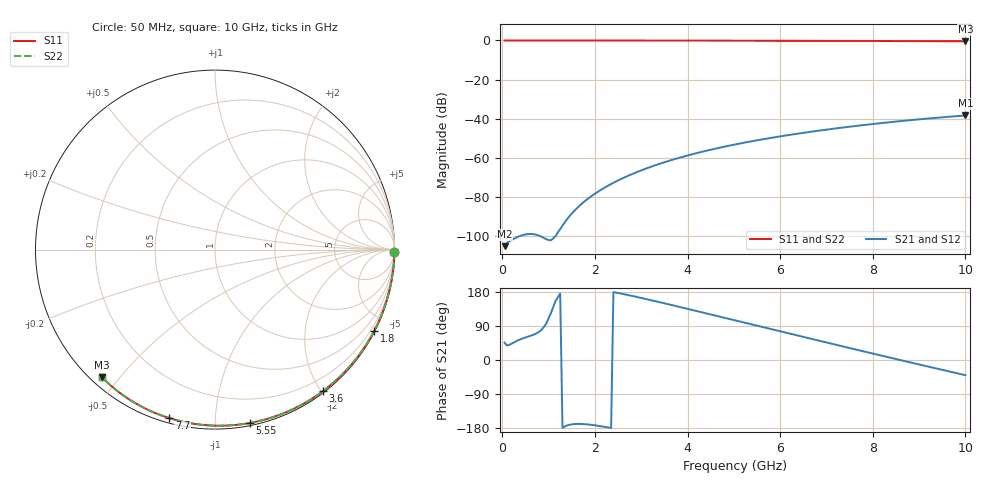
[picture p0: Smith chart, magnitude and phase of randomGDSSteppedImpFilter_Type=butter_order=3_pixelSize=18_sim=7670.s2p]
! freq	dB(S11)	phase(S11)	dB(S12)	phase(S12)
!  dB(S21)	phase(S21)	dB(S22)	phase(S22)
!S-par simulation data
#  GHz  S  DB  R 50
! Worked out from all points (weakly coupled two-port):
!   200 points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, 50 MHz to 10 GHz, reference 50 ohm
!   highest |S21| = -38.37 dB at 10 GHz (marker M1); lowest = -105.2 dB at 50 MHz (marker M2)
!   lowest |S11| = -0.4 dB at 10 GHz (marker M3), VSWR 39.16, Z = 1.53 - j22.5 ohm
!   |S11| at or under -10 dB: nowhere
!   |S22| runs from -0.4 to 0.0 dB; largest |S21 - S12| = 0
!   S11 on the Smith chart (normalised r, x): 50 MHz: open; 1.8 GHz: 0.04, -4.17; 3.6 GHz: 0.02, -2.02; 5.55 GHz: 0.02, -1.22; 7.7 GHz: 0.02, -0.76; 10 GHz: 0.03, -0.45
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0.05  -0.00 -0.8  -105.22 45.8  -105.22 45.8  -0.00 -0.8
0.9  -0.02 -13.6  -101.06 87.3  -101.06 87.3  -0.02 -13.6
1.75  -0.03 -26.2  -82.81 -169.1  -82.81 -169.1  -0.03 -26.2
1.8  -0.03 -27.0  -81.84 -169.5  -81.84 -169.5  -0.03 -27.0
1.9  -0.04 -28.4  -80.04 -170.7  -80.04 -170.7  -0.04 -28.4
2.05  -0.04 -30.6  -77.59 -173.2  -77.59 -173.2  -0.04 -30.6
2.25  -0.04 -33.5  -74.72 -177.3  -74.72 -177.3  -0.04 -33.5
2.45  -0.05 -36.4  -72.19 178.1  -72.19 178.1  -0.05 -36.4
2.65  -0.05 -39.3  -69.92 173.1  -69.92 173.1  -0.05 -39.3
3  -0.06 -44.3  -66.46 163.8  -66.46 163.8  -0.06 -44.3
3.4  -0.07 -49.9  -63.07 152.5  -63.07 152.5  -0.07 -49.9
3.6  -0.07 -52.7  -61.56 146.7  -61.56 146.7  -0.07 -52.7
3.9  -0.08 -56.9  -59.49 138.0  -59.49 138.0  -0.08 -56.9
4.3  -0.09 -62.3  -57.02 126.1  -57.02 126.1  -0.09 -62.3
5.05  -0.11 -72.3  -53.09 103.8  -53.09 103.8  -0.11 -72.3
5.55  -0.13 -78.7  -50.86 88.9  -50.86 88.9  -0.13 -78.7
6.1  -0.15 -85.7  -48.68 72.6  -48.68 72.6  -0.15 -85.7
6.7  -0.18 -93.1  -46.57 54.9  -46.57 54.9  -0.18 -93.1
7.7  -0.24 -105.2  -43.55 25.7  -43.55 25.7  -0.24 -105.2
8.35  -0.29 -112.8  -41.85 6.8  -41.85 6.8  -0.29 -112.8
9.15  -0.36 -121.9  -40.03 -16.1  -40.03 -16.1  -0.36 -121.9
10  -0.44 -131.6  -38.37 -40.1  -38.37 -40.1  -0.44 -131.6
